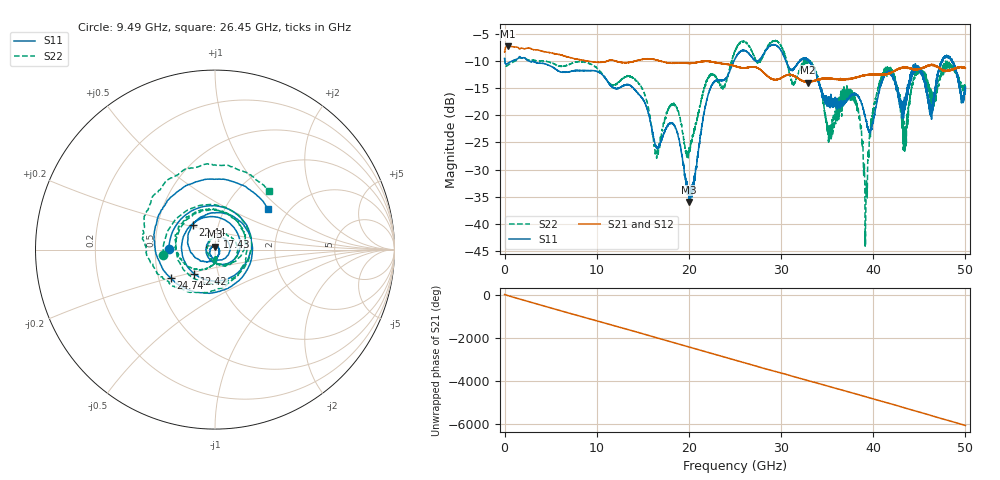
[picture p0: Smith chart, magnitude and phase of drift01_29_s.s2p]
!Created with skrf (http://scikit-rf.org).
# Hz S RI R 50.0
!freq ReS11 ImS11 ReS21 ImS21 ReS12 ImS12 ReS22 ImS22
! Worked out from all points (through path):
!   10001 points, 300 kHz to 50 GHz, reference 50 ohm
!   highest |S21| = -7.33 dB at 325.3 MHz (marker M1); lowest = -14.0 dB at 32.89 GHz (marker M2)
!   group delay of S21, straight-line fit = 335 ps
!   lowest |S11| = -36.0 dB at 20.01 GHz (marker M3), VSWR 1.03, Z = 49.9 + j1.59 ohm
!   |S11| at or under -10 dB: 2.557 GHz to 24.9 GHz (22.35 GHz wide, 163 % of centre); 30.51 GHz to 32.02 GHz (1.508 GHz wide, 4.82 % of centre); 33.07 GHz to 47.46 GHz (14.39 GHz wide, 35.7 % of centre) (the widest 3 of 18)
!   |S22| runs from -44.1 to -6.3 dB; largest |S21 - S12| = 0.0074
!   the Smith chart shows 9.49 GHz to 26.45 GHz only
!   S11 on the Smith chart (normalised r, x): 9.49 GHz: 0.59, +0.01; 12.42 GHz: 0.77, -0.21; 17.43 GHz: 1.02, +0.15; 22.44 GHz: 0.75, +0.22; 24.74 GHz: 0.58, -0.20; 26.45 GHz: 1.59, +0.83
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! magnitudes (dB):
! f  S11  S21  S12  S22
! 300 kHz  -9.6  -8.4  -8.5  -9.5
! 325.3 MHz  -10.5  -7.3  -7.3  -10.9
! 8.335 GHz  -11.8  -9.9  -9.9  -10.2
! 9.49 GHz  -11.8  -10.2  -10.2  -10.8
! 12.42 GHz  -15.0  -10.2  -10.2  -13.9
! 16.67 GHz  -26.0  -10.0  -9.9  -27.1
! 17.43 GHz  -22.6  -10.3  -10.3  -20.4
! 20.01 GHz  -36.0  -10.5  -10.5  -26.6
! 22.44 GHz  -14.6  -10.2  -10.2  -12.6
! 24.74 GHz  -10.6  -10.9  -10.9  -9.4
! 25 GHz  -9.6  -11.0  -11.0  -8.3
! 26.45 GHz  -8.6  -11.2  -11.2  -7.0
! 32.89 GHz  -10.0  -14.0  -13.8  -9.9
! 33.34 GHz  -10.8  -13.8  -13.8  -10.6
! 35.24 GHz  -17.5  -13.3  -13.3  -23.0
! 37.99 GHz  -16.0  -13.1  -13.1  -17.5
! 39.17 GHz  -20.7  -12.7  -12.7  -41.3
! 40.14 GHz  -20.0  -12.5  -12.5  -17.8
! 41.67 GHz  -12.1  -12.3  -12.4  -11.9
! 43.39 GHz  -17.0  -11.2  -11.2  -23.0
! 44.87 GHz  -11.2  -11.6  -11.5  -11.9
! 50 GHz  -15.5  -11.4  -11.3  -15.1
